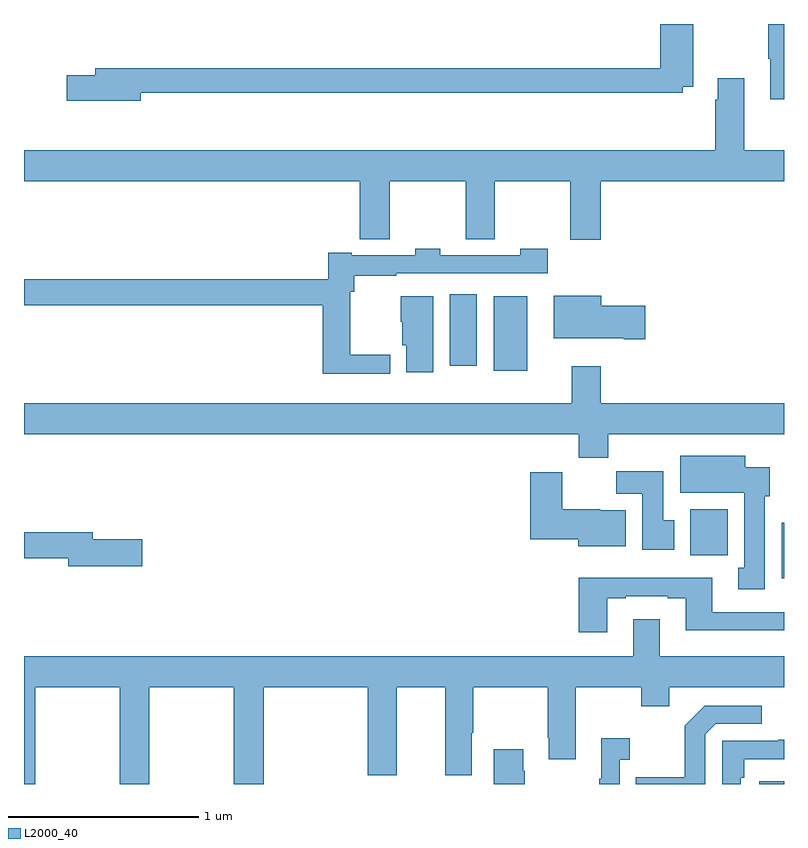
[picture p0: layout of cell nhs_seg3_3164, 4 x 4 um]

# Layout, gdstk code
import gdstk
lib = gdstk.Library(unit=1e-6, precision=1e-09)
def R(c, l, rs):  # rectangles x0, y0, x1, y1
    for r in rs: c.add(gdstk.rectangle(r[:2], r[2:], *l))
def P(c, l, *ps):  # polygons
    for p in ps: c.add(gdstk.Polygon(p, *l))
L2000_40 = (2000, 40)

nhs_seg3_3164 = lib.new_cell('nhs_seg3_3164')
R(nhs_seg3_3164, L2000_40, [(278.871,708.4,279,708.414), (278.987,709.484,279,709.776), (278.507,709.604,278.704,709.846), (277.472,710.576,277.648,710.968), (277.241,710.601,277.384,710.977)])
P(nhs_seg3_3164, L2000_40, [(279,712.4),(278.916,712.4),(278.916,712.217),(278.927,712.217),(278.927,712.005),(279,712.005)],
  [(275.614,712.038),(278.466,712.038),(278.466,712.07),(278.523,712.07),(278.523,712.4),(278.348,712.4),(278.348,712.166),(275.375,712.166),(275.375,712.13),(275.226,712.13),(275.226,711.995),(275.614,711.995)],
  [(278.036,711.572),(279,711.572),(279,711.736),(278.791,711.736),(278.791,712.114),(278.651,712.114),(278.651,712.001),(278.639,712.001),(278.639,711.736),(275,711.736),(275,711.572),(276.767,711.572),(276.767,711.268),(276.926,711.268),(276.926,711.572),(277.324,711.572),(277.324,711.268),(277.478,711.268),(277.478,711.572),(277.876,711.572),(277.876,711.264),(278.036,711.264)],
  [(276.928,710.66),(276.718,710.66),(276.718,710.99),(276.737,710.99),(276.737,711.075),(276.959,711.075),(276.959,711.087),(277.756,711.087),(277.756,711.216),(277.611,711.216),(277.611,711.183),(277.191,711.183),(277.191,711.216),(277.059,711.216),(277.059,711.183),(276.724,711.183),(276.724,711.196),(276.601,711.196),(276.601,711.056),(275,711.056),(275,710.92),(276.572,710.92),(276.572,710.558),(276.928,710.558)],
  [(278.269,710.918),(278.038,710.918),(278.038,710.971),(277.787,710.971),(277.787,710.747),(278.156,710.747),(278.156,710.74),(278.269,710.74)],
  [(277.153,710.968),(276.983,710.968),(276.983,710.832),(276.992,710.832),(276.992,710.709),(277.013,710.709),(277.013,710.568),(277.153,710.568)],
  [(278.075,710.24),(279,710.24),(279,710.404),(278.036,710.404),(278.036,710.599),(277.883,710.599),(277.883,710.404),(275,710.404),(275,710.24),(277.919,710.24),(277.919,710.116),(278.075,710.116)],
  [(278.899,709.914),(278.926,709.914),(278.926,710.068),(278.797,710.068),(278.797,710.128),(278.453,710.128),(278.453,709.934),(278.792,709.934),(278.792,709.538),(278.759,709.538),(278.759,709.425),(278.899,709.425)],
  [(278.422,709.788),(278.365,709.788),(278.365,710.046),(278.116,710.046),(278.116,709.928),(278.255,709.928),(278.255,709.632),(278.422,709.632)],
  [(278.167,709.84),(278.034,709.84),(278.034,709.846),(277.834,709.846),(277.834,710.041),(277.664,710.041),(277.664,709.688),(277.916,709.688),(277.916,709.652),(278.167,709.652)],
  [(275.623,709.688),(275.362,709.688),(275.362,709.724),(275,709.724),(275,709.588),(275.234,709.588),(275.234,709.546),(275.623,709.546)],
  [(278.071,709.377),(278.167,709.377),(278.167,709.389),(278.387,709.389),(278.387,709.377),(278.483,709.377),(278.483,709.208),(279,709.208),(279,709.305),(278.623,709.305),(278.623,709.486),(277.919,709.486),(277.919,709.2),(278.071,709.2)],
  [(275.058,708.908),(275.503,708.908),(275.503,708.4),(275.658,708.4),(275.658,708.908),(276.103,708.908),(276.103,708.4),(276.263,708.4),(276.263,708.908),(276.809,708.908),(276.809,708.447),(276.961,708.447),(276.961,708.908),(277.217,708.908),(277.217,708.447),(277.357,708.447),(277.357,708.67),(277.365,708.67),(277.365,708.908),(277.756,708.908),(277.756,708.643),(277.763,708.643),(277.763,708.531),(277.903,708.531),(277.903,708.908),(278.248,708.908),(278.248,708.809),(278.395,708.809),(278.395,708.908),(279,708.908),(279,709.072),(278.347,709.072),(278.347,709.267),(278.207,709.267),(278.207,709.072),(275,709.072),(275,708.4),(275.058,708.4)],
  [(278.586,708.663),(278.64,708.717),(278.884,708.717),(278.884,708.813),(278.583,708.813),(278.478,708.707),(278.478,708.435),(278.221,708.435),(278.221,708.4),(278.586,708.4)],
  [(278.136,708.527),(278.188,708.527),(278.188,708.64),(278.039,708.64),(278.039,708.427),(278.028,708.427),(278.028,708.4),(278.136,708.4)],
  [(278.772,708.434),(278.792,708.434),(278.792,708.531),(279,708.531),(279,708.632),(278.971,708.632),(278.971,708.627),(278.676,708.627),(278.676,708.4),(278.772,708.4)],
  [(277.635,708.47),(277.627,708.47),(277.627,708.583),(277.472,708.583),(277.472,708.4),(277.635,708.4)])

lib.write_gds('nhs_seg3_3164.gds')
